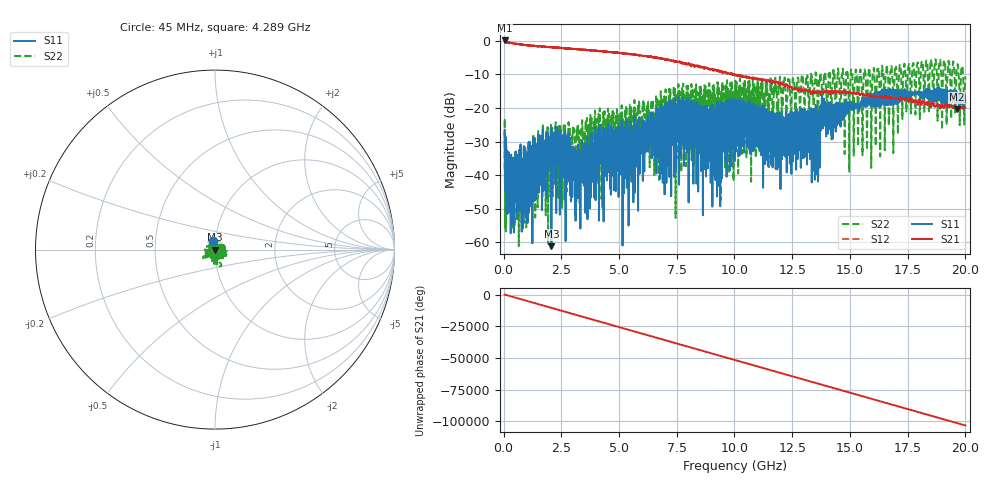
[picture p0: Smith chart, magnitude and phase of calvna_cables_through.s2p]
!Agilent Technologies,E8364A,US41440322,A.04.87.01
!Agilent E8364A: A.04.87.01
!Date: Tuesday, July 16, 2024 13:08:44
!Correction: S11(Full 2 Port SOLT,1,2) S21(Full 2 Port SOLT,1,2) S12(Full 2 Port SOLT,1,2) S22(Full 2 Port SOLT,1,2)
!S2P File: Measurements: S11, S21, S12, S22:
# Hz S  dB  R 50
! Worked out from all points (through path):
!   6401 points, 45 MHz to 20 GHz, reference 50 ohm
!   highest |S21| = 0.04 dB at 45 MHz (marker M1); lowest = -20.4 dB at 19.62 GHz (marker M2)
!   group delay of S21, straight-line fit = 14.4 ns
!   lowest |S11| = -61.1 dB at 2.072 GHz (marker M3), VSWR 1.00, Z = 50.1 + j0.0103 ohm
!   |S11| at or under -10 dB: start of sweep to end of sweep
!   |S22| runs from -61.1 to -5.5 dB; largest |S21 - S12| = 0.08
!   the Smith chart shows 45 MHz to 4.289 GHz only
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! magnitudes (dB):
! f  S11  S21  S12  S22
! 45 MHz  -26.6  0.0  -0.4  -38.3
! 154.1 MHz  -32.7  -0.5  -0.5  -34.2
! 356.8 MHz  -35.2  -0.7  -0.7  -34.7
! 649.9 MHz  -45.4  -1.0  -1.0  -37.4
! 883.7 MHz  -32.8  -1.3  -1.3  -31.7
! 2.072 GHz  -61.1  -2.0  -1.9  -35.4
! 3.372 GHz  -34.2  -2.7  -2.7  -26.5
! 4.111 GHz  -26.5  -3.1  -3.1  -21.8
! 5.243 GHz  -31.5  -3.8  -3.9  -25.5
! 6.699 GHz  -30.6  -5.2  -5.2  -24.5
! 7.494 GHz  -19.3  -6.3  -6.2  -35.2
! 9.302 GHz  -23.8  -9.0  -8.9  -15.6
! 10.02 GHz  -19.6  -10.3  -10.1  -13.5
! 12.09 GHz  -22.8  -13.0  -12.8  -19.7
! 13.35 GHz  -39.2  -15.3  -15.0  -10.7
! 13.64 GHz  -24.0  -15.2  -15.1  -16.5
! 13.86 GHz  -17.8  -15.5  -15.3  -12.5
! 14.31 GHz  -25.2  -15.1  -15.0  -10.4
! 16.68 GHz  -14.8  -16.9  -16.7  -22.1
! 18.22 GHz  -16.0  -18.2  -17.7  -19.8
! 19.62 GHz  -15.2  -20.4  -19.8  -8.5
! 20 GHz  -18.2  -19.9  -19.8  -10.6
